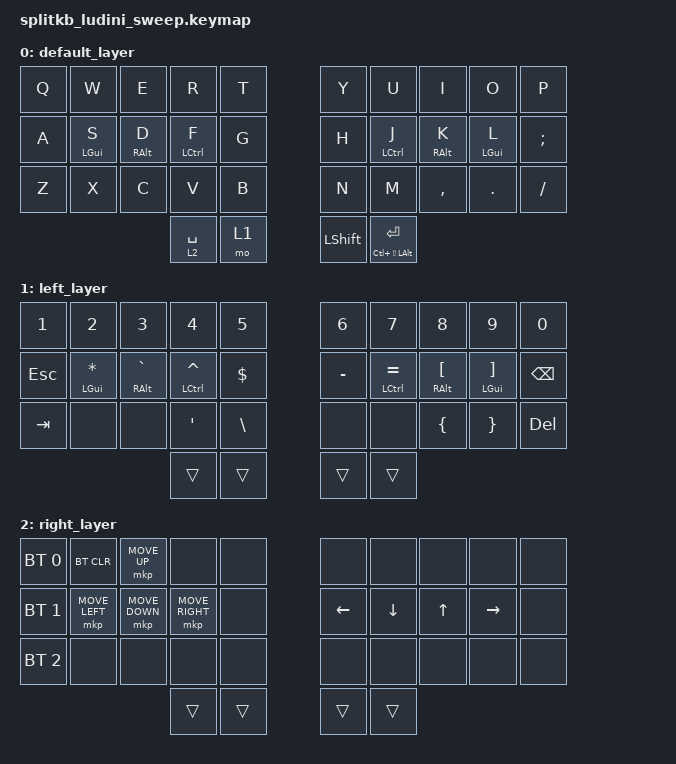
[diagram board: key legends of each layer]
#include <behaviors.dtsi>
#include <dt-bindings/zmk/keys.h>
#include <dt-bindings/zmk/bt.h>
#include <dt-bindings/zmk/pointing.h>

&mt {
   flavor = "tap-preferred";
   tapping-term-ms = <200>;
};

/ {

        behaviors {
            hm: homerow_mods {
                compatible = "zmk,behavior-hold-tap";
                label = "HOMEROW_MODS";
                #binding-cells = <2>;
                tapping-term-ms = <300>;
                quick_tap_ms = <0>;
                flavor = "tap-preferred";
                bindings = <&kp>, <&kp>;
            };
        };

        keymap {
                compatible = "zmk,keymap";

            default_layer {
        bindings = <
        &kp Q &kp W &kp E &kp R &kp T                       &kp Y &kp U  &kp I    &kp O   &kp P
        &kp A &hm LGUI S &hm RALT D &hm LCTRL F &kp G       &kp H &hm LCTRL J &hm RALT K &hm LGUI L &kp SEMI
        &kp Z &kp X &kp C &kp V &kp B                       &kp N &kp M  &kp COMMA &kp DOT &kp SLASH
                        &lt 2 SPACE &mo 1                   &kp LSHIFT &mt LC(LS(LEFT_ALT)) RET
        >;
        };

            left_layer {
        bindings = <
        &kp N1  &kp N2      &kp N3      &kp N4      &kp N5          &kp N6      &kp N7      &kp N8      &kp N9      &kp N0
        &kp ESC &hm LGUI STAR    &hm RALT GRAVE   &hm LCTRL CARET   &kp DLLR        &kp MINUS   &hm LCTRL EQUAL   &hm RALT LBKT    &hm LGUI RBKT    &kp BACKSPACE
        &kp TAB &none       &none       &kp SQT     &kp BSLH        &none       &none       &kp LBRC    &kp RBRC    &kp DEL
                                        &trans      &trans          &trans      &trans
        >;
        };

            right_layer {
        bindings = <
        &bt BT_SEL 0    &bt BT_CLR      &mkp MOVE_UP       &none       &none            &none   &none   &none   &none   &none
        &bt BT_SEL 1    &mkp MOVE_LEFT  &mkp MOVE_DOWN     &mkp MOVE_RIGHT      &none            &kp LEFT   &kp DOWN   &kp UP   &kp RIGHT   &none
        &bt BT_SEL 2    &none           &none       &none       &none            &none   &none   &none   &none   &none
                                                    &trans      &trans           &trans  &trans
        >;
        };
    };
};
